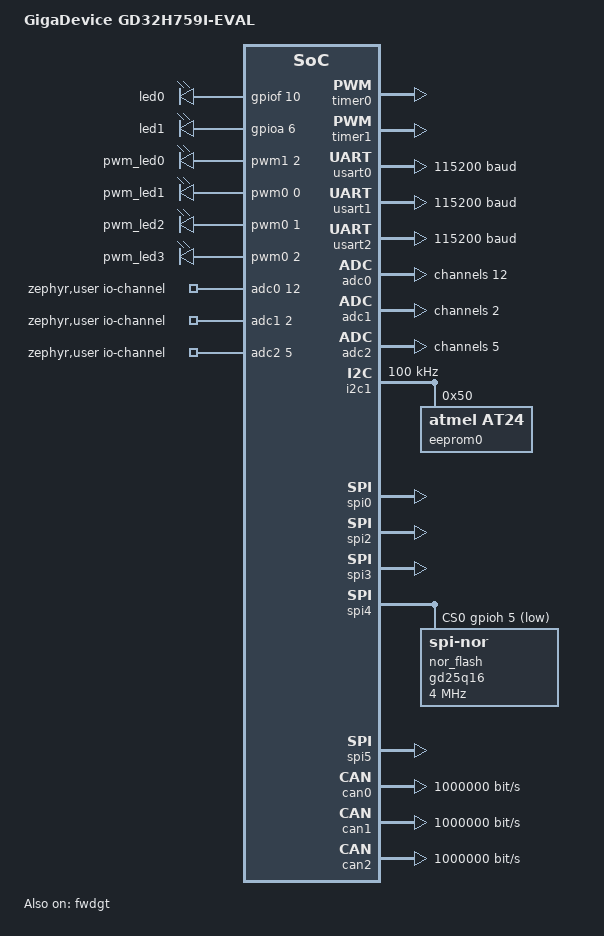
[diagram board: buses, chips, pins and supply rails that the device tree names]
/*
 * Copyright (c) 2026 GigaDevice Semiconductor Inc.
 *
 * SPDX-License-Identifier: Apache-2.0
 */

/dts-v1/;

#include <gd/gd32h7xx/gd32h759im.dtsi>
#include "gd32h759i_eval-pinctrl.dtsi"
#include <zephyr/dt-bindings/adc/adc.h>
#include <zephyr/dt-bindings/dma/gd32_dma.h>

/ {
	model = "GigaDevice GD32H759I-EVAL";
	compatible = "gd,gd32h759i-eval";

	chosen {
		zephyr,sram = &sram0;
		zephyr,dtcm = &dtcm;
		zephyr,flash = &flash0;
		zephyr,console = &usart0;
		zephyr,shell-uart = &usart0;
		zephyr,flash-controller = &fmc;
		zephyr,canbus = &can0;
	};

	leds {
		compatible = "gpio-leds";

		led0: led0 {
			gpios = <&gpiof 10 GPIO_ACTIVE_HIGH>;
		};

		led1: led1 {
			gpios = <&gpioa 6 GPIO_ACTIVE_HIGH>;
		};
	};

	pwmleds {
		compatible = "pwm-leds";

		/* NOTE: bridge TIMER1_CH2 (PB10) and LED1 (PE2) */
		pwm_led0: pwm_led0 {
			pwms = <&pwm1 2 PWM_MSEC(20) PWM_POLARITY_NORMAL>;
		};

		pwm_led1: pwm_led1 {
			pwms = <&pwm0 0 PWM_MSEC(20) PWM_POLARITY_NORMAL>;
		};

		pwm_led2: pwm_led2 {
			pwms = <&pwm0 1 PWM_MSEC(20) PWM_POLARITY_NORMAL>;
		};

		pwm_led3: pwm_led3 {
			pwms = <&pwm0 2 PWM_MSEC(20) PWM_POLARITY_NORMAL>;
		};
	};

	aliases {
		led0 = &led0;
		led1 = &led1;
		watchdog0 = &fwdgt;
		pwm-led0 = &pwm_led0;
		pwm-led1 = &pwm_led1;
		pwm-led2 = &pwm_led2;
		pwm-led3 = &pwm_led3;
		eeprom-0 = &eeprom0;
	};

	zephyr,user {
		/* idx 0: ADC0 ch12 (PC2), idx 1: ADC1 ch2 (PF13), idx 2: ADC2 ch5 (PF3) */
		io-channels = <&adc0 12>, <&adc1 2>, <&adc2 5>;
	};
};

&timer0 {
	channels = <4>;
	prescaler = <9999>;
	alignedmode = <0x00>;
	counterdirection = <0x10>;
	deadtime = <200>;                  /* 1.06us */
	status = "okay";

	pwm0: pwm {
		status = "okay";
		pinctrl-0 = <&pwm0_default>;
		pinctrl-names = "default";
	};
};

&timer1 {
	channels = <4>;
	prescaler = <9999>;
	alignedmode = <0x00>;
	counterdirection = <0x10>;
	status = "okay";

	pwm1: pwm {
		status = "okay";
		pinctrl-0 = <&pwm1_default>;
		pinctrl-names = "default";
	};
};

&backup_sram {
	status = "okay";
};

&gpioa {
	status = "okay";
};

&gpiob {
	status = "okay";
};

&gpioc {
	status = "okay";
};

&gpiod {
	status = "okay";
};

&gpioe {
	status = "okay";
};

&gpiof {
	status = "okay";
};

&gpiog {
	status = "okay";
};

&gpioh {
	status = "okay";
};

&gpioj {
	status = "okay";
};

&gpiok {
	status = "okay";
};

&usart0 {
	status = "okay";
	current-speed = <115200>;
	pinctrl-0 = <&usart0_default>;
	pinctrl-names = "default";
	dmas = <&dmamux 0 51 (GD32_DMA_PERIPH_RX | GD32_DMA_PRIORITY_HIGH)>,
	       <&dmamux 1 52 (GD32_DMA_PERIPH_TX | GD32_DMA_PRIORITY_HIGH)>;
	dma-names = "rx", "tx";
};

&usart1 {
	status = "okay";
	current-speed = <115200>;
	pinctrl-0 = <&usart1_default>;
	pinctrl-names = "default";
	dmas = <&dmamux 6 51 (GD32_DMA_PERIPH_RX | GD32_DMA_PRIORITY_HIGH)>,
	       <&dmamux 7 52 (GD32_DMA_PERIPH_TX | GD32_DMA_PRIORITY_HIGH)>;
	dma-names = "rx", "tx";
};

&usart2 {
	status = "okay";
	current-speed = <115200>;
	pinctrl-0 = <&usart2_default>;
	pinctrl-names = "default";
};

&fwdgt {
	status = "okay";
};

&adc0 {
	status = "okay";
	pinctrl-0 = <&adc0_default>;
	pinctrl-names = "default";
	dmas = <&dmamux 8 9 (GD32_DMA_PERIPH_RX | GD32_DMA_PRIORITY_VERY_HIGH)>;
	dma-names = "rx";
	#address-cells = <1>;
	#size-cells = <0>;

	channel@c {
		reg = <12>;
		zephyr,gain = "ADC_GAIN_1";
		zephyr,reference = "ADC_REF_INTERNAL";
		zephyr,acquisition-time = <ADC_ACQ_TIME(ADC_ACQ_TIME_TICKS, 5)>;
		zephyr,resolution = <12>;
		zephyr,vref-mv = <3300>;
	};
};

&adc1 {
	status = "okay";
	pinctrl-0 = <&adc1_default>;
	pinctrl-names = "default";
	dmas = <&dmamux 10 10 (GD32_DMA_PERIPH_RX | GD32_DMA_PRIORITY_VERY_HIGH)>;
	dma-names = "rx";
	#address-cells = <1>;
	#size-cells = <0>;

	channel@2 {
		reg = <2>;
		zephyr,gain = "ADC_GAIN_1";
		zephyr,reference = "ADC_REF_INTERNAL";
		zephyr,acquisition-time = <ADC_ACQ_TIME(ADC_ACQ_TIME_TICKS, 5)>;
		zephyr,resolution = <12>;
		zephyr,vref-mv = <3300>;
	};
};

&adc2 {
	status = "okay";
	pinctrl-0 = <&adc2_default>;
	pinctrl-names = "default";
	dmas = <&dmamux 9 123 (GD32_DMA_PERIPH_RX | GD32_DMA_PRIORITY_VERY_HIGH)>;
	dma-names = "rx";
	#address-cells = <1>;
	#size-cells = <0>;

	channel@5 {
		reg = <5>;
		zephyr,gain = "ADC_GAIN_1";
		zephyr,reference = "ADC_REF_INTERNAL";
		zephyr,acquisition-time = <ADC_ACQ_TIME(ADC_ACQ_TIME_TICKS, 5)>;
		zephyr,resolution = <12>;
		zephyr,vref-mv = <3300>;
	};
};

&dma0 {
	status = "okay";
};

&dma1 {
	status = "okay";
};

&dmamux {
	status = "okay";
};

&i2c1 {
	status = "okay";
	pinctrl-0 = <&i2c1_default>;
	pinctrl-names = "default";
	dmas = <&dmamux 2 43 (GD32_DMA_PERIPH_RX | GD32_DMA_PRIORITY_HIGH)>,
	       <&dmamux 3 44 (GD32_DMA_PERIPH_TX | GD32_DMA_PRIORITY_HIGH)>;
	dma-names = "rx", "tx";
	clock-frequency = <100000>;

	eeprom0: eeprom@50 {
		compatible = "atmel,at24";
		reg = <0x50>;
		status = "okay";
		size = <256>;
		pagesize = <8>;
		address-width = <8>;
		timeout = <5>;
	};
};

&spi0 {
	status = "okay";
	pinctrl-0 = <&spi0_default>;
	pinctrl-names = "default";
	cs-gpios = <&gpioa 4 GPIO_ACTIVE_LOW>;
};

&spi2 {
	status = "okay";
	pinctrl-0 = <&spi2_default>;
	pinctrl-names = "default";
	cs-gpios = <&gpioa 4 GPIO_ACTIVE_LOW>;
};

&spi3 {
	status = "okay";
	pinctrl-0 = <&spi3_default>;
	pinctrl-names = "default";
	cs-gpios = <&gpioe 4 GPIO_ACTIVE_LOW>;
};

&spi4 {
	status = "okay";
	pinctrl-0 = <&spi4_default>;
	pinctrl-names = "default";
	cs-gpios = <&gpioh 5 GPIO_ACTIVE_LOW>;
	dmas = <&dmamux 4 99 (GD32_DMA_PERIPH_RX | GD32_DMA_PRIORITY_HIGH)>,
	       <&dmamux 5 100 (GD32_DMA_PERIPH_TX | GD32_DMA_PRIORITY_HIGH)>;
	dma-names = "rx", "tx";

	nor_flash: gd25q16@0 {
		compatible = "jedec,spi-nor";
		size = <0x1000000>;
		reg = <0>;
		spi-max-frequency = <4000000>;
		status = "okay";
		jedec-id = [c8 40 15];
	};
};

&spi5 {
	status = "okay";
	pinctrl-0 = <&spi5_default>;
	pinctrl-names = "default";
	cs-gpios = <&gpioa 0 GPIO_ACTIVE_LOW>;
};

&can0 {
	pinctrl-0 = <&can0_default>;
	pinctrl-names = "default";
	bus-speed = <1000000>;
	bus-speed-data = <1000000>;
	sample-point = <800>;
	sample-point-data = <800>;
	status = "okay";
};

&can1 {
	pinctrl-0 = <&can1_default>;
	pinctrl-names = "default";
	bus-speed = <1000000>;
	bus-speed-data = <1000000>;
	sample-point = <800>;
	sample-point-data = <800>;
	status = "okay";
};

&can2 {
	pinctrl-0 = <&can2_default>;
	pinctrl-names = "default";
	bus-speed = <1000000>;
	bus-speed-data = <1000000>;
	sample-point = <800>;
	sample-point-data = <800>;
	status = "okay";
};
